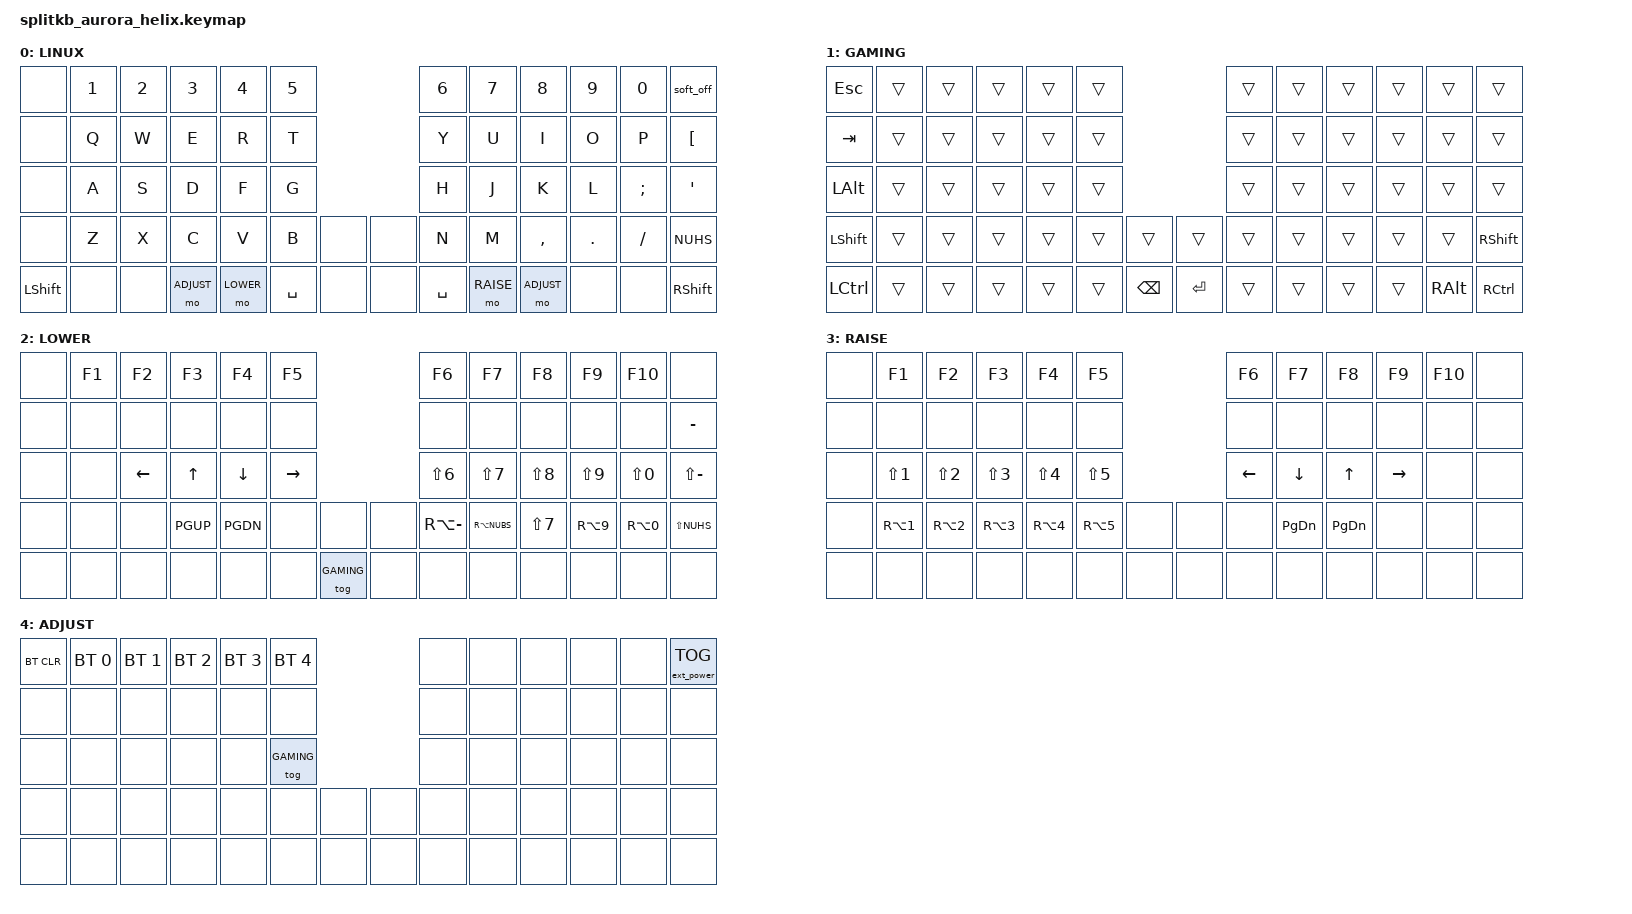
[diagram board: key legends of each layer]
/*
 * Copyright (c) 2023 The ZMK Contributors
 *
 * SPDX-License-Identifier: MIT
 */

#include <behaviors.dtsi>
#include <dt-bindings/zmk/keys.h>
#include <dt-bindings/zmk/bt.h>
#include <dt-bindings/zmk/rgb.h>
#include <dt-bindings/zmk/ext_power.h>
#include <dt-bindings/zmk/outputs.h>

/*
#define DEFAULT 0
#define MAC 1
#define GAMING  2
#define LOWER  3
#define RAISE  4
#define ADJUST 5
*/

#define DEFAULT 0
#define GAMING  1
#define LOWER  2
#define RAISE  3
#define ADJUST 4

/* Uncomment this block if using RGB
&led_strip {
       // chain-length = <6>;
       // chain-length = <38>; // Uncomment if using both per-key and underglow LEDs
       chain-length = <32>; // Uncomment if using only per-key LEDs.
};
//*/

&soft_off {
  hold-time-ms = <3000>;
};

/ {
  keymap {
    compatible = "zmk,keymap";

    default_layer {
      display-name = "LINUX";
    // -----------------------------------------------------------------------------------------------------------------------------------------------------------------------------------------------------------------------------
    // |               |   F1          |   F2          |   F3          |   F4          |   F5          |                           |   F6          |   F7          |   F8          |   F9          |  F10          |  SOFT_OFF     |
    // |               |   Q           |   W           |   E           |   R           |   T           |                           |   Y           |   U           |   I           |   O           |   P           |   Å           |
    // |               |   A           |   S           |   D           |   F           |   G           |                           |   H           |   J           |   K           |   L           |   Ö           |   Ä           |
    // |               |   Z           |   X           |   C           |   V           |   B           |               |           |   N           |   M           |   ,           |   .           |   -           |   '           |
    // | LSHIFT        |               |               | ADJUST        | LOWER         | SPACE         |               |           | SPACE         |  RAISE        |  ADJUST       |               |               |  RSHIFT       |
    // -----------------------------------------------------------------------------------------------------------------------------------------------------------------------------------------------------------------------------
      bindings = <
        &none           &kp N1          &kp N2          &kp N3          &kp N4          &kp N5                                      &kp N6          &kp N7          &kp N8          &kp N9          &kp N0          &soft_off
        &none           &kp Q           &kp W           &kp E           &kp R           &kp T                                       &kp Y           &kp U           &kp I           &kp O           &kp P           &kp LBKT
        &none           &kp A           &kp S           &kp D           &kp F           &kp G                                       &kp H           &kp J           &kp K           &kp L           &kp SEMI        &kp SQT
        &none           &kp Z           &kp X           &kp C           &kp V           &kp B           &none           &none       &kp N           &kp M           &kp COMMA       &kp PERIOD      &kp SLASH       &kp NUHS
        &kp LSHIFT      &none           &none           &mo ADJUST      &mo LOWER       &kp SPACE       &none           &none       &kp SPACE       &mo RAISE       &mo ADJUST      &none           &none           &kp RSHIFT
      >;
    };

    gaming_layer {
      display-name = "GAMING";
    // -----------------------------------------------------------------------------------------------------------------------------------------------------------------------------------------------------------------------------
    // |               |               |               |               |               |               |                           |               |               |               |               |               |               |
    // |  ESC          |               |               |               |               |               |                           |               |               |               |               |               |               |
    // |  TAB          |               |               |               |               |               |                           |               |               |               |               |               |               |
    // | LSHIFT        |               |               |               |               |               |               |           |               |               |               |               |               |  LSHIFT       |
    // | LCTRL         |               |               |               |               |               |   BACKSPACE   |   ENTER   |               |               |               |               |               |  RCTRL        |
    // -----------------------------------------------------------------------------------------------------------------------------------------------------------------------------------------------------------------------------
      bindings = <
        &kp ESC         &trans          &trans          &trans          &trans          &trans                                      &trans          &trans          &trans          &trans          &trans          &trans
        &kp TAB         &trans          &trans          &trans          &trans          &trans                                      &trans          &trans          &trans          &trans          &trans          &trans
        &kp LALT        &trans          &trans          &trans          &trans          &trans                                      &trans          &trans          &trans          &trans          &trans          &trans
        &kp LSHIFT      &trans          &trans          &trans          &trans          &trans          &trans          &trans      &trans          &trans          &trans          &trans          &trans          &kp RSHIFT
        &kp LCTRL       &trans          &trans          &trans          &trans          &trans          &kp BSPC        &kp RET     &trans          &trans          &trans          &trans          &kp RALT        &kp RCTRL
      >;
    };

    lower_layer {
      display-name = "LOWER";
    // -----------------------------------------------------------------------------------------------------------------------------------------------------------------------------------------------------------------------------
    // |               |               |               |               |               |               |                           |               |               |               |               |               |               |
    // |               |   1           |   2           |   3           |   4           |   5           |                           |   6           |   7           |   8           |   9           |   0           |   +           |
    // |               |               |  LEFT         |   UP          |  DOWN         |  RIGHT        |                           |   &           |   /           |   (           |   )           |   =           |   ?           |
    // |               |               |               |  PG UP        | PG DOWN       |               |               |           |   \           |   |           |   /           |   ]           |   }           |   *           |
    // |               |               |               |               |               |               |               |           |               |               |               |               |               |               |
    // -----------------------------------------------------------------------------------------------------------------------------------------------------------------------------------------------------------------------------
      bindings = <
        &none           &kp F1          &kp F2          &kp F3          &kp F4          &kp F5                                      &kp F6          &kp F7          &kp F8          &kp F9          &kp F10         &none
        &none           &none           &none           &none           &none           &none                                       &none           &none           &none           &none           &none           &kp MINUS
        &none           &none           &kp LEFT        &kp UP          &kp DOWN        &kp RIGHT                                   &kp LS(N6)      &kp LS(N7)      &kp LS(N8)      &kp LS(N9)      &kp LS(N0)      &kp LS(MINUS)
        &none           &none           &none           &kp PGUP        &kp PGDN        &none           &none           &none       &kp RA(MINUS)   &kp RA(NUBS)    &kp LS(N7)      &kp RA(N9)      &kp RA(N0)      &kp LS(NUHS)
        &none           &none           &none           &none           &none           &none           &tog GAMING     &none       &none           &none           &none           &none           &none           &none
      >;
    };

    raise_layer {
      display-name = "RAISE";
    // -----------------------------------------------------------------------------------------------------------------------------------------------------------------------------------------------------------------------------
    // |               |               |               |               |               |               |                           |               |               |               |               |               |               |
    // |               |   1           |   2           |   3           |   4           |   5           |                           |   6           |   7           |   8           |   9           |   0           |               |
    // |               |   !           |   "           |   #           |   €           |   %           |                           |  LEFT         |  DOWN         |   UP          |  RIGHT        |               |               |
    // |               |   ¡           |   @           |   £           |   $           |   €           |               |           |               | PG DN         |  PG UP        |               |               |               |
    // |               |               |               |               |               |               |               |           |               |               |               |               |               |               |
    // -----------------------------------------------------------------------------------------------------------------------------------------------------------------------------------------------------------------------------
      bindings = <
        &none           &kp F1          &kp F2          &kp F3          &kp F4          &kp F5                                      &kp F6          &kp F7          &kp F8          &kp F9          &kp F10         &none
        &none           &none           &none           &none           &none           &none                                       &none           &none           &none           &none           &none           &none
        &none           &kp LS(N1)      &kp LS(N2)      &kp LS(N3)      &kp LS(N4)      &kp LS(N5)                                  &kp LEFT        &kp DOWN        &kp UP          &kp RIGHT       &none           &none
        &none           &kp RA(N1)      &kp RA(N2)      &kp RA(N3)      &kp RA(N4)      &kp RA(N5)      &none           &none       &none           &kp PG_DN       &kp PG_DN       &none           &none           &none
        &none           &none           &none           &none           &none           &none           &none           &none       &none           &none           &none           &none           &none           &none
      >;
    };

    adjust_layer {
      display-name = "ADJUST";
    // -----------------------------------------------------------------------------------------------------------------------------------------------------------------------------------------------------------------------------
    // | BT CLR        |  BT 1         |  BT 2         |  BT 3         |  BT 4         |  BT 5         |                           |               |               |               |               |               |  EP TOGGLE    |
    // |               |               |               |               |               |               |                           |               |               |               |               |               |               |
    // |               |               |               |               |               |               |                           |               |               |               |               |               |               |
    // |               |               |               |               |               |               |               |           |               |               |               |               |               |               |
    // |               |               |               |               |               |               |               |           |               |               |               |               |               |               |
    // -----------------------------------------------------------------------------------------------------------------------------------------------------------------------------------------------------------------------------
      bindings = <
        &bt BT_CLR      &bt BT_SEL 0    &bt BT_SEL 1    &bt BT_SEL 2    &bt BT_SEL 3    &bt BT_SEL 4                                &none           &none           &none           &none           &none           &ext_power EP_TOG
        &none           &none           &none           &none           &none           &none                                       &none           &none           &none           &none           &none           &none
        &none           &none           &none           &none           &none           &tog GAMING                                 &none           &none           &none           &none           &none           &none
        &none           &none           &none           &none           &none           &none           &none           &none       &none           &none           &none           &none           &none           &none
        &none           &none           &none           &none           &none           &none           &none           &none       &none           &none           &none           &none           &none           &none
      >;
    };
  };

};

/ {
    combos {
      compatible = "zmk,combos";

      c_caps_word {
        timeout-ms = <30>;
        key-positions = <50 63>; // LSHIFT + RSHIFT
        bindings = <&caps_word>;
        require-prior-idle-ms = <50>;
        layers = <0>;
      };

      c_esc {
        timeout-ms = <30>;
        key-positions = <26 27 28>; // S + D + F
        bindings = <&kp ESC>;
        require-prior-idle-ms = <50>;
        layers = <0>;
      };

      c_ret {
        timeout-ms = <30>;
        key-positions = <31 32>; // J + K
        bindings = <&kp RET>;
        require-prior-idle-ms = <50>;
        layers = <0>;
      };

      c_tab {
        timeout-ms = <30>;
        key-positions = <27 28>; // D + F
        bindings = <&kp TAB>;
        require-prior-idle-ms = <50>;
        layers = <0>;
      };

      c_bspc {
        timeout-ms = <30>;
        key-positions = <26 27>; // S + D
        bindings = <&kp BSPC>;
        require-prior-idle-ms = <50>;
        layers = <0>;
      };

      //
      // Modifiers
      //

      c_lctrl {
        timeout-ms = <30>;
        key-positions = <14 26>; // W + S
        bindings = <&kp LCTRL>;
        require-prior-idle-ms = <50>;
        layers = <0>;
      };

      c_rctrl {
        timeout-ms = <30>;
        key-positions = <21 33>; // O + L
        bindings = <&kp RCTRL>;
        require-prior-idle-ms = <50>;
        layers = <0>;
      };

      c_lalt {
        timeout-ms = <30>;
        key-positions = <15 27>; // E + D
        bindings = <&kp LALT>;
        require-prior-idle-ms = <50>;
        layers = <0>;
      };

      c_ralt {
        timeout-ms = <30>;
        key-positions = <20 32>; // I + K
        bindings = <&kp RALT>;
        require-prior-idle-ms = <50>;
        layers = <0>;
      };

      c_lgui {
        timeout-ms = <30>;
        key-positions = <16 28>; // R + F
        bindings = <&kp LGUI>;
        require-prior-idle-ms = <50>;
        layers = <0>;
      };

      c_rgui {
        timeout-ms = <30>;
        key-positions = <19 31>; // U + J
        bindings = <&kp RGUI>;
        require-prior-idle-ms = <50>;
        layers = <0>;
      };

      //
      // Brackets
      //

      c_lparen {
        timeout-ms = <30>;
        key-positions = <15 16>; // E + R
        bindings = <&kp LS(N8)>; // (
        require-prior-idle-ms = <50>;
        layers = <0>;
      };

      c_rparen {
        timeout-ms = <30>;
        key-positions = <19 20>; // U + I
        bindings = <&kp LS(N9)>; // )
        require-prior-idle-ms = <50>;
        layers = <0>;
      };

      c_lbracket {
        timeout-ms = <30>;
        key-positions = <14 15>; // W + E
        bindings = <&kp RA(N8)>; // [
        require-prior-idle-ms = <50>;
        layers = <0>;
      };

      c_rbracket {
        timeout-ms = <30>;
        key-positions = <20 21>; // I + O
        bindings = <&kp RA(N9)>; // ]
        require-prior-idle-ms = <50>;
        layers = <0>;
      };

      c_lbrace {
        timeout-ms = <30>;
        key-positions = <14 15 16>; // W + E + R
        bindings = <&kp RA(N7)>;
        require-prior-idle-ms = <50>;
        layers = <0>;
      };

      c_rbrace {
        timeout-ms = <30>;
        key-positions = <19 20 21>; // U + I + O
        bindings = <&kp RA(N9)>;
        require-prior-idle-ms = <50>;
        layers = <0>;
      };


      c_less {
        timeout-ms = <30>;
        key-positions = <14 16>; // W + R
        bindings = <&kp NUBS>;
        require-prior-idle-ms = <50>;
        layers = <0>;
      };

      c_greater {
        timeout-ms = <30>;
        key-positions = <19 21>; // U + O
        bindings = <&kp LS(NUBS)>;
        require-prior-idle-ms = <50>;
        layers = <0>;
      };

      c_circ {
        timeout-ms = <30>;
        key-positions = <40 41>; // V + B
        bindings = <&m_circ>;
        require-prior-idle-ms = <50>;
        layers = <0>;
      };


      c_backtick {
        timeout-ms = <30>;
        key-positions = <28 29>;
        bindings = <&m_backtick>;
        require-prior-idle-ms = <50>;
        layers = <0>;
      };

      c_tild {
        timeout-ms = <30>;
        key-positions = <44 45>; // N + M
        bindings = <&m_tild>;
        require-prior-idle-ms = <50>;
        layers = <0>;
      };

      c_grave {
        timeout-ms = <30>;
        key-positions = <30 31>;
        bindings = <&m_grave>;
        require-prior-idle-ms = <50>;
        layers = <0>;
      };

      c_semicolon {
        timeout-ms = <30>;
        key-positions = <32 46>; // K + COMMA
        bindings = <&kp LS(COMMA)>;
        require-prior-idle-ms = <50>;
        layers = <0>;
      };

      c_colon {
        timeout-ms = <30>;
        key-positions = <33 47>; // L + PERIOD
        bindings = <&kp LS(PERIOD)>;
        require-prior-idle-ms = <50>;
        layers = <0>;
      };

      c_singlequote {
        timeout-ms = <30>;
        key-positions = <13 25>; // Q + A
        bindings = <&kp NUHS>;
        require-prior-idle-ms = <50>;
        layers = <0>;
      };

      c_doublequote {
        timeout-ms = <30>;
        key-positions = <22 34>; // P + SEMI
        bindings = <&kp LS(N2)>;
        require-prior-idle-ms = <50>;
        layers = <0>;
      };

      c_equal {
        timeout-ms = <30>;
        key-positions = <28 29 30 31>; // F G H J
        bindings = <&m_equal>;
        require-prior-idle-ms = <50>;
        layers = <0>;
      };

      c_equality {
        timeout-ms = <30>;
        key-positions = <29 30>; // G H
        bindings = <&m_equality>;
        require-prior-idle-ms = <50>;
        layers = <0>;
      };

      c_nonequality {
        timeout-ms = <30>;
        key-positions = <28 31>; // F J
        bindings = <&m_nonequality>;
        require-prior-idle-ms = <50>;
        layers = <0>;
      };

      c_swap {
        timeout-ms = <30>;
        key-positions = <20 21 32 33>; // I O K L
        bindings = <&kp LG(TAB)>;
        require-prior-idle-ms = <50>;
        layers = <0>;
      };

      c_final_ {
        timeout-ms = <30>;
        key-positions = <28 20 44>; // FINal_
        bindings = <&m_final_>;
        require-prior-idle-ms = <50>;
        layers = <0>;
      };

      c_return_ {
        timeout-ms = <30>;
        key-positions = <16 17 44>; // ReTurN_
        bindings = <&m_return_>;
        require-prior-idle-ms = <50>;
        layers = <0>;
      };

      c_required_ {
        timeout-ms = <30>;
        key-positions = <13 16 20>; // ReQuIred_
        bindings = <&m_required_>;
        require-prior-idle-ms = <50>;
        layers = <0>;
      };

      c_flutter_ {
        timeout-ms = <30>;
        key-positions = <28 33 19>; // FLUtter_
        bindings = <&m_flutter_>;
        require-prior-idle-ms = <50>;
        layers = <0>;
      };

      c_pub_ {
        timeout-ms = <30>;
        key-positions = <19 22 41>; // PUB_
        bindings = <&m_pub_>;
        require-prior-idle-ms = <50>;
        layers = <0>;
      };

      c_get_ {
        timeout-ms = <30>;
        key-positions = <29 15 17>; // GET_
        bindings = <&m_get_>;
        require-prior-idle-ms = <50>;
        layers = <0>;
      };

      c_run_ {
        timeout-ms = <30>;
        key-positions = <16 19>; // RUn_
        bindings = <&m_run_>;
        require-prior-idle-ms = <50>;
        layers = <0>;
      };

      c_macos_ {
        timeout-ms = <30>;
        key-positions = <25 39 45>; // MACos_
        bindings = <&m_macos_>;
        require-prior-idle-ms = <50>;
        layers = <0>;
      };

      c_d_macos_ {
        timeout-ms = <30>;
        key-positions = <25 27 39 45>; // -D MACos_
        bindings = <&m_d_macos_>;
        require-prior-idle-ms = <50>;
        layers = <0>;
      };

      c_void {
        timeout-ms = <30>;
        key-positions = <40 20 21>; // VOId
        bindings = <&m_void>;
        require-prior-idle-ms = <50>;
        layers = <0>;
      };

      c_Future {
        timeout-ms = <30>;
        key-positions = <28 16 19>; // FUtuRe
        bindings = <&m_Future>;
        require-prior-idle-ms = <50>;
        layers = <0>;
      };

      c_int {
        timeout-ms = <30>;
        key-positions = <17 20 44>; // INT
        bindings = <&m_int>;
        require-prior-idle-ms = <50>;
        layers = <0>;
      };

      c_String {
        timeout-ms = <30>;
        key-positions = <16 17 26>; // STRing
        bindings = <&m_String>;
        require-prior-idle-ms = <50>;
        layers = <0>;
      };

      c_double {
        timeout-ms = <30>;
        key-positions = <27 19 21>; // DOUble
        bindings = <&m_double>;
        require-prior-idle-ms = <50>;
        layers = <0>;
      };

      c_Widget {
        timeout-ms = <30>;
        key-positions = <14 20 27 29>; // WIDGet
        bindings = <&m_Widget>;
        require-prior-idle-ms = <50>;
        layers = <0>;
      };

      c_build {
        timeout-ms = <30>;
        key-positions = <41 19 20 33 27>; // BUILD
        bindings = <&m_build>;
        require-prior-idle-ms = <50>;
        layers = <0>;
      };
    };
};

/ {
    macros {
      ZMK_MACRO(m_circ,
          wait-ms = <10>;
          tap-ms = <10>;
          bindings = <&kp LS(RBKT) &kp SPACE>;
      )

      ZMK_MACRO(m_tild,
          wait-ms = <10>;
          tap-ms = <10>;
          bindings = <&kp RA(RBKT) &kp SPACE>;
      )

      ZMK_MACRO(m_backtick,
          wait-ms = <10>;
          tap-ms = <10>;
          bindings = <&kp LS(EQUAL) &kp SPACE>;
      )

      ZMK_MACRO(m_grave,
          wait-ms = <10>;
          tap-ms = <10>;
          bindings = <&kp EQUAL &kp SPACE>;
      )

      ZMK_MACRO(m_equal,
          wait-ms = <10>;
          tap-ms = <10>;
          bindings = <&kp LS(N0) &kp SPACE>;
      )

      ZMK_MACRO(m_equality,
          wait-ms = <10>;
          tap-ms = <10>;
          bindings = <&kp LS(N0) &kp LS(N0) &kp SPACE>;
      )

      ZMK_MACRO(m_nonequality,
          wait-ms = <10>;
          tap-ms = <10>;
          bindings = <&kp LS(N1) &kp LS(N0) &kp SPACE>;
      )

      ZMK_MACRO(m_final_,
          wait-ms = <10>;
          tap-ms = <10>;
          bindings = <&kp F &kp I &kp N &kp A &kp L &kp SPACE>;
      )

      ZMK_MACRO(m_return_,
          wait-ms = <10>;
          tap-ms = <10>;
          bindings = <&kp R &kp E &kp T &kp U &kp R &kp N &kp SPACE>;
      )

      ZMK_MACRO(m_required_,
          wait-ms = <10>;
          tap-ms = <10>;
          bindings = <&kp R &kp E &kp Q &kp U &kp I &kp R &kp E &kp D &kp SPACE>;
      )

      ZMK_MACRO(m_flutter_,
          wait-ms = <10>;
          tap-ms = <10>;
          bindings = <&kp F &kp L &kp U &kp T &kp T &kp E &kp R &kp SPACE>;
      )

      ZMK_MACRO(m_pub_,
          wait-ms = <10>;
          tap-ms = <10>;
          bindings = <&kp P &kp U &kp B &kp SPACE>;
      )

      ZMK_MACRO(m_get_,
          wait-ms = <10>;
          tap-ms = <10>;
          bindings = <&kp G &kp E &kp T &kp SPACE>;
      )

      ZMK_MACRO(m_run_,
          wait-ms = <10>;
          tap-ms = <10>;
          bindings = <&kp R &kp U &kp N &kp SPACE>;
      )

      ZMK_MACRO(m_macos_,
          wait-ms = <10>;
          tap-ms = <10>;
          bindings = <&kp M &kp A &kp C &kp O &kp S &kp SPACE>;
      )

      ZMK_MACRO(m_d_macos_,
          wait-ms = <10>;
          tap-ms = <10>;
          bindings = <&kp SLASH &kp D &kp SPACE &kp M &kp A &kp C &kp O &kp S &kp SPACE>;
      )

      ZMK_MACRO(m_void,
          wait-ms = <10>;
          tap-ms = <10>;
          bindings = <&kp V &kp O &kp I &kp D>;
      )

      ZMK_MACRO(m_Future,
          wait-ms = <10>;
          tap-ms = <10>;
          bindings = <&kp LS(F) &kp U &kp T &kp U &kp R &kp E>;
      )

      ZMK_MACRO(m_int,
          wait-ms = <10>;
          tap-ms = <10>;
          bindings = <&kp I &kp N &kp T>;
      )

      ZMK_MACRO(m_String,
          wait-ms = <10>;
          tap-ms = <10>;
          bindings = <&kp LS(S) &kp T &kp R &kp I &kp N &kp G>;
      )

      ZMK_MACRO(m_double,
          wait-ms = <10>;
          tap-ms = <10>;
          bindings = <&kp D &kp O &kp U &kp B &kp L &kp E>;
      )

      ZMK_MACRO(m_Widget,
          wait-ms = <10>;
          tap-ms = <10>;
          bindings = <&kp LS(W) &kp I &kp D &kp G &kp E &kp T>;
      )

      ZMK_MACRO(m_build,
          wait-ms = <10>;
          tap-ms = <10>;
          bindings = <&kp B &kp U &kp I &kp L &kp D>;
      )

      // NOT IMPLEMENTED BELOW

      ZMK_MACRO(m_git_,
          wait-ms = <10>;
          tap-ms = <10>;
          bindings = <&kp G &kp I &kp T&kp SPACE>;
      )

      ZMK_MACRO(m_status_,
          wait-ms = <10>;
          tap-ms = <10>;
          bindings = <&kp S &kp T &kp A &kp T &kp U &kp S &kp SPACE>;
      )

      ZMK_MACRO(m_function_,
          wait-ms = <10>;
          tap-ms = <10>;
          bindings = <&kp LS(F) &kp U &kp N &kp C &kp T &kp I &kp O &kp N>;
      )

      ZMK_MACRO(m_async_,
          wait-ms = <10>;
          tap-ms = <10>;
          bindings = <&kp A &kp S &kp Y &kp N &kp C &kp SPACE>;
      )

      ZMK_MACRO(m_await_,
          wait-ms = <10>;
          tap-ms = <10>;
          bindings = <&kp A &kp W &kp A &kp I &kp T &kp SPACE>;
      )

      ZMK_MACRO(m_gametogg,
          wait-ms = <10>;
          tap-ms = <10>;
          bindings = <&tog GAMING>;
      )
    };
};
